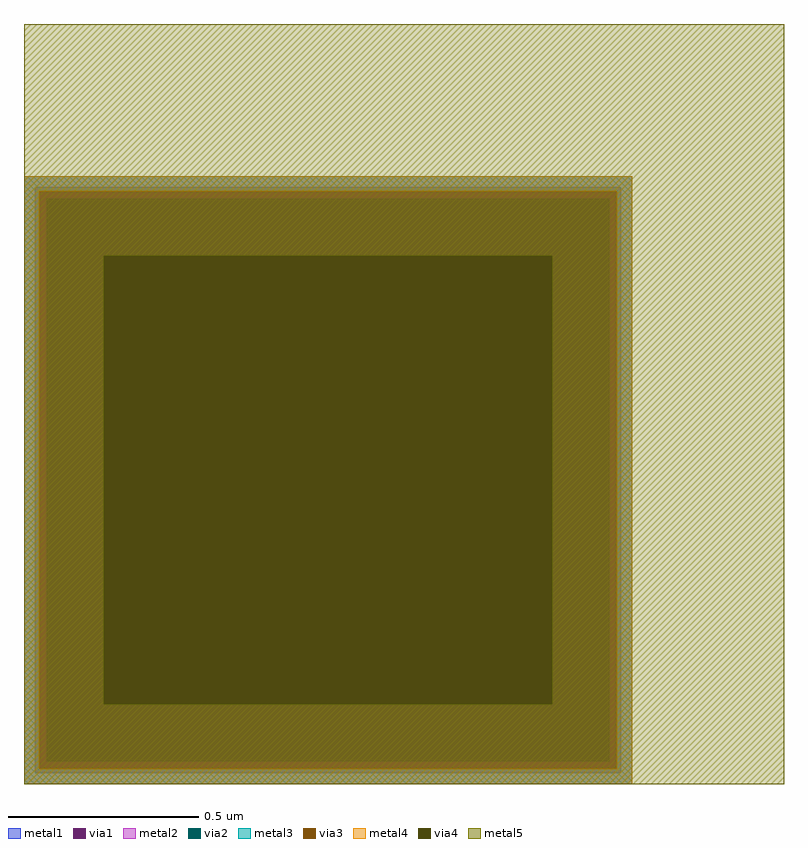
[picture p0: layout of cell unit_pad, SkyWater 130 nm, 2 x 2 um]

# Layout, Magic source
magic
tech sky130A
<< metal1 >>
rect 0 157 160 160
rect 0 3 3 157
rect 157 3 160 157
rect 0 0 160 3
<< via1 >>
rect 3 3 157 157
<< metal2 >>
rect 0 157 160 160
rect 0 3 3 157
rect 157 3 160 157
rect 0 0 160 3
<< via2 >>
rect 6 6 154 154
<< metal3 >>
rect 0 156 160 160
rect 0 4 4 156
rect 156 4 160 156
rect 0 0 160 4
<< via3 >>
rect 4 154 156 156
rect 4 6 6 154
rect 6 6 154 154
rect 154 6 156 154
rect 4 4 156 6
<< metal4 >>
rect 0 156 160 160
rect 0 4 4 156
rect 156 4 160 156
rect 0 0 160 4
<< via4 >>
rect 21 21 139 139
<< metal5 >>
rect 0 139 200 200
rect 0 21 21 139
rect 139 21 200 139
rect 0 0 200 21
<< end >>
